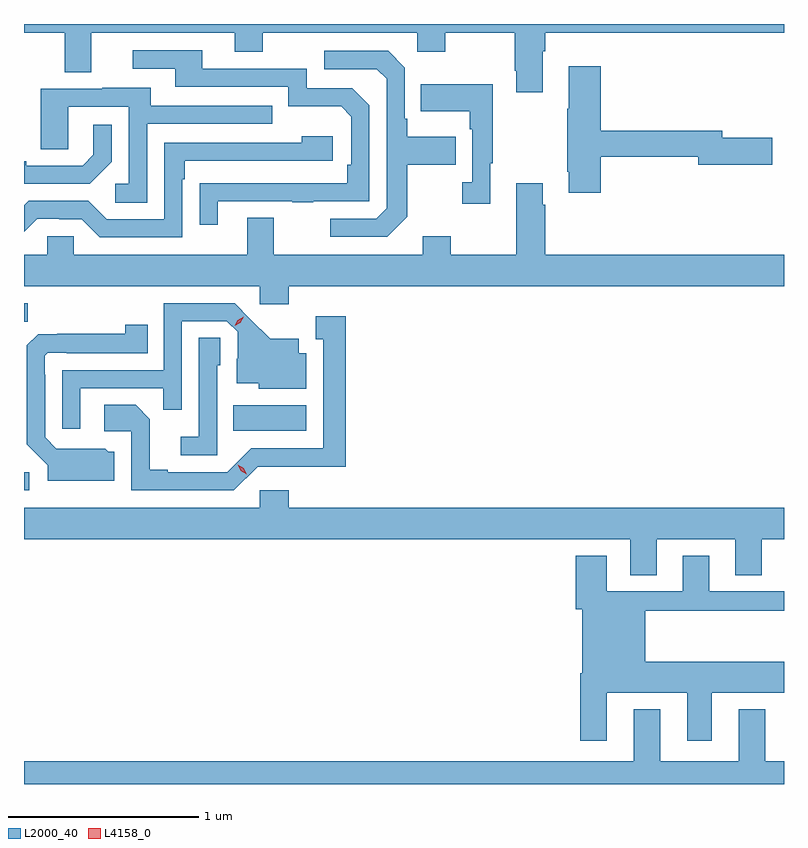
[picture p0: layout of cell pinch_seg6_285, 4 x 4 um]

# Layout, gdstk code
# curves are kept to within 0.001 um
import gdstk
lib = gdstk.Library(unit=1e-6, precision=1e-09)
def R(c, l, rs):  # rectangles x0, y0, x1, y1
    for r in rs: c.add(gdstk.rectangle(r[:2], r[2:], *l))
def P(c, l, *ps):  # polygons
    for p in ps: c.add(gdstk.Polygon(p, *l))
L2000_40 = (2000, 40)
L4158_0 = (4158, 0)

pinch_seg6_285 = lib.new_cell('pinch_seg6_285')
R(pinch_seg6_285, L2000_40, [(863.538,995.544,863.566,995.64), (864.64,995.858,865.024,995.992), (863.538,996.433,863.559,996.528)])
P(pinch_seg6_285, L2000_40, [(866.269,997.856),(866.282,997.856),(866.282,997.952),(867.538,997.952),(867.538,997.999),(863.538,997.999),(863.538,997.952),(863.753,997.952),(863.753,997.744),(863.893,997.744),(863.893,997.952),(864.647,997.952),(864.647,997.853),(864.795,997.853),(864.795,997.952),(865.608,997.952),(865.608,997.853),(865.755,997.853),(865.755,997.952),(866.122,997.952),(866.122,997.753),(866.129,997.753),(866.129,997.641),(866.269,997.641)],
  [(864.559,997.065),(864.949,997.065),(864.949,997.06),(865.061,997.06),(865.061,997.065),(865.356,997.065),(865.356,997.572),(865.266,997.662),(865.026,997.662),(865.026,997.764),(864.475,997.764),(864.475,997.86),(864.111,997.86),(864.111,997.764),(864.335,997.764),(864.335,997.668),(864.93,997.668),(864.93,997.565),(865.207,997.565),(865.26,997.512),(865.26,997.258),(865.24,997.258),(865.24,997.161),(864.463,997.16),(864.463,996.942),(864.559,996.942)],
  [(865.555,996.985),(865.555,997.258),(865.811,997.258),(865.811,997.405),(865.555,997.405),(865.555,997.501),(865.542,997.501),(865.542,997.77),(865.455,997.857),(865.119,997.857),(865.119,997.761),(865.395,997.761),(865.446,997.71),(865.446,997.029),(865.392,996.975),(865.149,996.975),(865.149,996.879),(865.449,996.879)],
  [(866.573,997.3),(867.086,997.3),(867.086,997.258),(867.475,997.258),(867.475,997.4),(867.214,997.4),(867.214,997.436),(866.573,997.436),(866.573,997.777),(866.405,997.777),(866.405,997.553),(866.398,997.553),(866.398,997.222),(866.405,997.222),(866.405,997.11),(866.573,997.11)],
  [(865.993,997.265),(866.005,997.265),(866.005,997.681),(865.627,997.681),(865.627,997.541),(865.884,997.541),(865.884,997.445),(865.896,997.445),(865.896,997.166),(865.845,997.166),(865.845,997.053),(865.993,997.053)],
  [(864.186,997.473),(864.845,997.473),(864.845,997.569),(864.205,997.569),(864.205,997.663),(863.951,997.663),(863.951,997.659),(863.627,997.659),(863.627,997.339),(863.772,997.339),(863.772,997.563),(864.09,997.563),(864.09,997.158),(864.018,997.158),(864.018,997.057),(864.186,997.057)],
  [(864,997.274),(864,997.468),(863.903,997.468),(863.903,997.311),(863.846,997.254),(863.551,997.254),(863.551,997.277),(863.538,997.277),(863.538,997.158),(863.884,997.158)],
  [(864.372,997.181),(864.385,997.181),(864.385,997.278),(865.162,997.278),(865.162,997.408),(865.001,997.408),(865.001,997.374),(864.276,997.374),(864.276,996.972),(863.973,996.972),(863.877,997.068),(863.562,997.068),(863.538,997.044),(863.538,996.906),(863.607,996.975),(863.723,996.975),(863.723,996.972),(863.841,996.972),(863.937,996.876),(864.372,996.876)],
  [(864.932,996.62),(867.538,996.62),(867.538,996.784),(866.282,996.784),(866.282,997.049),(866.269,997.049),(866.269,997.162),(866.129,997.162),(866.129,996.784),(865.785,996.784),(865.785,996.883),(865.637,996.883),(865.637,996.784),(864.853,996.784),(864.853,996.979),(864.713,996.979),(864.713,996.784),(863.799,996.784),(863.799,996.882),(863.661,996.882),(863.661,996.784),(863.538,996.784),(863.538,996.62),(864.78,996.62),(864.78,996.525),(864.932,996.525)],
  [(863.835,996.081),(864.271,996.081),(864.271,995.968),(864.369,995.968),(864.369,996.435),(864.606,996.435),(864.663,996.378),(864.663,996.236),(864.659,996.236),(864.659,996.107),(864.774,996.107),(864.774,996.08),(865.024,996.08),(865.024,996.265),(864.985,996.265),(864.985,996.343),(864.833,996.343),(864.646,996.528),(864.273,996.528),(864.273,996.177),(863.739,996.177),(863.739,995.868),(863.835,995.868)],
  [(864.768,995.67),(865.231,995.669),(865.231,996.46),(865.073,996.46),(865.073,996.339),(865.112,996.339),(865.112,995.766),(864.735,995.766),(864.609,995.64),(864.295,995.64),(864.295,995.653),(864.201,995.653),(864.201,995.92),(864.125,995.996),(863.961,995.996),(863.961,995.856),(864.102,995.856),(864.102,995.544),(864.642,995.544)],
  [(864.013,995.748),(863.982,995.748),(863.966,995.764),(863.709,995.763),(863.649,995.823),(863.649,996.152),(863.646,996.152),(863.646,996.252),(863.664,996.27),(863.764,996.27),(863.764,996.267),(864.188,996.267),(864.188,996.415),(864.07,996.415),(864.07,996.368),(863.612,996.367),(863.553,996.308),(863.553,995.786),(863.663,995.676),(863.663,995.594),(864.013,995.594)],
  [(864.555,996.204),(864.57,996.204),(864.57,996.347),(864.459,996.347),(864.459,995.827),(864.363,995.827),(864.363,995.73),(864.555,995.73)],
  [(866.869,995.288),(867.281,995.288),(867.281,995.098),(867.421,995.098),(867.421,995.288),(867.538,995.288),(867.538,995.452),(864.932,995.452),(864.932,995.545),(864.78,995.545),(864.78,995.452),(863.538,995.452),(863.538,995.288),(866.729,995.288),(866.729,995.098),(866.869,995.098)],
  [(866.605,994.478),(867.029,994.478),(867.029,994.227),(867.157,994.227),(867.157,994.478),(867.538,994.478),(867.538,994.642),(866.809,994.642),(866.809,994.912),(867.538,994.912),(867.538,995.013),(867.145,995.013),(867.145,995.2),(867.005,995.2),(867.005,995.013),(866.605,995.013),(866.605,995.2),(866.441,995.2),(866.441,994.92),(866.477,994.92),(866.477,994.582),(866.465,994.582),(866.465,994.227),(866.605,994.227)],
  [(867.538,994.12),(867.439,994.12),(867.439,994.393),(867.299,994.393),(867.299,994.12),(866.887,994.12),(866.887,994.393),(866.747,994.393),(866.747,994.12),(863.538,994.12),(863.538,993.999),(867.538,993.999)])
P(pinch_seg6_285, L4158_0, [(864.711,995.628),(864.68,995.647),(864.663,995.68),(864.663,995.68),(864.663,995.68),(864.694,995.661),(864.711,995.628),(864.711,995.628)],
  [(864.646,996.411),(864.646,996.412),(864.663,996.441),(864.694,996.457),(864.694,996.457),(864.694,996.457),(864.677,996.427),(864.646,996.411)])

lib.write_gds('pinch_seg6_285.gds')
